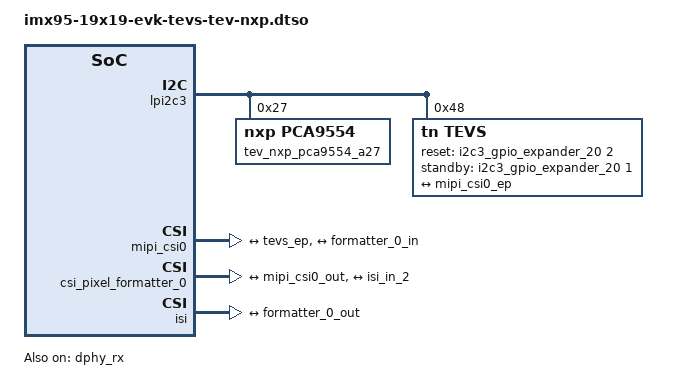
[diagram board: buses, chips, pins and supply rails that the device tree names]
// SPDX-License-Identifier: (GPL-2.0+ OR MIT)
/*
 * Copyright 2024 TechNexion Ltd.
 *
 * Author: Nian Yang <nian.yang@technexion.com>
 *
 */

/dts-v1/;
/plugin/;

#include <dt-bindings/clock/fsl,imx95-clock.h>
#include <dt-bindings/gpio/gpio.h>

&lpi2c3 {
	#address-cells = <1>;
	#size-cells = <0>;
	status = "okay";

	tev_nxp_pca9554_a27: tev_nxp_pca9554@27 {
		compatible = "nxp,pca9554";
		reg = <0x27>;
		gpio-controller;
		#gpio-cells = <2>;
		gpio-line-names = "EXPOSURE_TRIG_IN1", "FLASH_OUT1", "INFO_TRIG_IN1", "CAM_SHUTTER1",
						"XVS1", "EXT_GPIO5", "", "";
		status = "okay";
	};

	tevs: tevs@48 {
		compatible = "tn,tevs";
		reg = <0x48>;

		reset-gpios = <&i2c3_gpio_expander_20 2 GPIO_ACTIVE_HIGH>;
		standby-gpios = <&i2c3_gpio_expander_20 1 GPIO_ACTIVE_HIGH>;

		data-lanes = <4>;
		data-frequency = <800>;
		continuous-clock = <0>;
		status = "okay";

		port {
			tevs_ep: endpoint {
				remote-endpoint = <&mipi_csi0_ep>;
				data-lanes = <1 2 3 4>;
				clock-lanes = <0>;
			};
		};
	};
};

&dphy_rx {
	status = "okay";
};

&mipi_csi0 {
	status = "okay";

	ports {
		#address-cells = <1>;
		#size-cells = <0>;

		port@0 {
			reg = <0>;
			mipi_csi0_ep: endpoint {
				remote-endpoint = <&tevs_ep>;
				data-lanes = <1 2 3 4>;
				clock-lanes = <0>;
			};
		};

		port@1 {
			reg = <1>;
				mipi_csi0_out: endpoint {
				remote-endpoint = <&formatter_0_in>;
			};
		};
	};
};

&csi_pixel_formatter_0 {
	status = "okay";

	ports {
		#address-cells = <1>;
		#size-cells = <0>;

		port@0 {
			reg = <0>;

			formatter_0_in: endpoint {
				remote-endpoint = <&mipi_csi0_out>;
			};
		};

		port@1 {
			reg = <1>;

			formatter_0_out: endpoint {
				remote-endpoint = <&isi_in_2>;
			};
		};
	};
};

&isi {
	status = "okay";

	ports {
		#address-cells = <1>;
		#size-cells = <0>;

		port@2 {
			reg = <2>;

			isi_in_2: endpoint {
				remote-endpoint = <&formatter_0_out>;
			};
		};
	};
};
